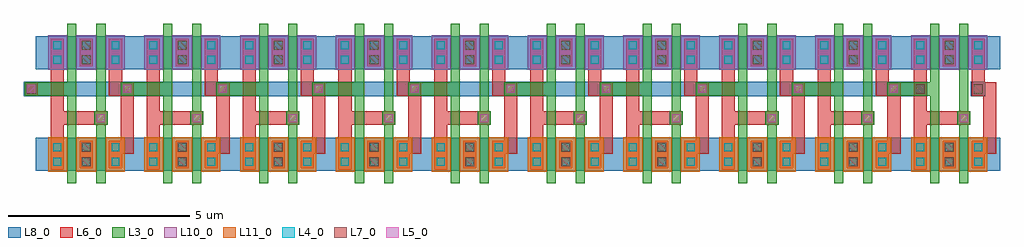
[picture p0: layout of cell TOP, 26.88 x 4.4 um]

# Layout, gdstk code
import gdstk
lib = gdstk.Library(unit=1e-6, precision=1e-09)
def R(c, l, rs):  # rectangles x0, y0, x1, y1
    for r in rs: c.add(gdstk.rectangle(r[:2], r[2:], *l))
def A(c, l, x, y, w, h, nx, ny, dx, dy):  # array of equal rectangles
    R(c, l, [(x+i*dx, y+j*dy, x+i*dx+w, y+j*dy+h) for i in range(nx) for j in range(ny)])
def P(c, l, *ps):  # polygons
    for p in ps: c.add(gdstk.Polygon(p, *l))
L3_0 = (3, 0)
L4_0 = (4, 0)
L5_0 = (5, 0)
L6_0 = (6, 0)
L7_0 = (7, 0)
L8_0 = (8, 0)
L10_0 = (10, 0)
L11_0 = (11, 0)

trans = lib.new_cell('TRANS')

d_pmos = lib.new_cell('D$PMOS')

d_pmos_1 = lib.new_cell('D$PMOS$1')

d_nmos = lib.new_cell('D$NMOS')

d_nmos_1 = lib.new_cell('D$NMOS$1')

inv2 = lib.new_cell('INV2')
inv2.add(gdstk.Reference(trans, (-0.4,0)))
inv2.add(gdstk.Reference(trans, (-0.4,2.8)))
inv2.add(gdstk.Reference(trans, (0.4,0), x_reflection=True))
inv2.add(gdstk.Reference(trans, (0.4,2.8), x_reflection=True))
inv2.add(gdstk.Reference(d_pmos, (-0.4,2.8)))
inv2.add(gdstk.Reference(d_pmos_1, (0.4,2.8)))
inv2.add(gdstk.Reference(d_nmos, (-0.4,0)))
inv2.add(gdstk.Reference(d_nmos_1, (0.4,0)))

top = lib.new_cell('TOP')
A(top, L3_0, 0.22, 0.82, 0.36, 0.36, 10, 1, 2.64, 0)
A(top, L3_0, -1.7, 1.62, 1.3, 0.36, 10, 1, 2.64, 0)
R(top, L3_0, [(-0.525,-0.8,-0.275,0.8), (0.275,-0.8,0.525,0.8), (2.115,-0.8,2.365,0.8), (2.915,-0.8,3.165,0.8), (4.755,-0.8,5.005,0.8), (5.555,-0.8,5.805,0.8), (7.395,-0.8,7.645,0.8), (8.195,-0.8,8.445,0.8), (10.035,-0.8,10.285,0.8), (10.835,-0.8,11.085,0.8), (12.675,-0.8,12.925,0.8), (13.475,-0.8,13.725,0.8), (15.315,-0.8,15.565,0.8), (16.115,-0.8,16.365,0.8), (17.955,-0.8,18.205,0.8), (18.755,-0.8,19.005,0.8), (20.595,-0.8,20.845,0.8), (21.395,-0.8,21.645,0.8), (23.235,-0.8,23.485,0.8), (24.035,-0.8,24.285,0.8), (-0.525,-0.475,-0.275,0.475), (0.275,-0.475,0.525,0.475), (2.115,-0.475,2.365,0.475), (2.915,-0.475,3.165,0.475), (4.755,-0.475,5.005,0.475), (5.555,-0.475,5.805,0.475), (7.395,-0.475,7.645,0.475), (8.195,-0.475,8.445,0.475), (10.035,-0.475,10.285,0.475), (10.835,-0.475,11.085,0.475), (12.675,-0.475,12.925,0.475), (13.475,-0.475,13.725,0.475), (15.315,-0.475,15.565,0.475), (16.115,-0.475,16.365,0.475), (17.955,-0.475,18.205,0.475), (18.755,-0.475,19.005,0.475), (20.595,-0.475,20.845,0.475), (21.395,-0.475,21.645,0.475), (23.235,-0.475,23.485,0.475), (24.035,-0.475,24.285,0.475), (-0.525,-0.25,-0.275,2.25), (0.275,-0.25,0.525,2.25), (2.115,-0.25,2.365,2.25), (2.915,-0.25,3.165,2.25), (4.755,-0.25,5.005,2.25), (5.555,-0.25,5.805,2.25), (7.395,-0.25,7.645,2.25), (8.195,-0.25,8.445,2.25), (10.035,-0.25,10.285,2.25), (10.835,-0.25,11.085,2.25), (12.675,-0.25,12.925,2.25), (13.475,-0.25,13.725,2.25), (15.315,-0.25,15.565,2.25), (16.115,-0.25,16.365,2.25), (17.955,-0.25,18.205,2.25), (18.755,-0.25,19.005,2.25), (20.595,-0.25,20.845,2.25), (21.395,-0.25,21.645,2.25), (23.235,-0.25,23.485,2.25), (24.035,-0.25,24.285,2.25), (-0.525,2,-0.275,3.6), (0.275,2,0.525,3.6), (2.115,2,2.365,3.6), (2.915,2,3.165,3.6), (4.755,2,5.005,3.6), (5.555,2,5.805,3.6), (7.395,2,7.645,3.6), (8.195,2,8.445,3.6), (10.035,2,10.285,3.6), (10.835,2,11.085,3.6), (12.675,2,12.925,3.6), (13.475,2,13.725,3.6), (15.315,2,15.565,3.6), (16.115,2,16.365,3.6), (17.955,2,18.205,3.6), (18.755,2,19.005,3.6), (20.595,2,20.845,3.6), (21.395,2,21.645,3.6), (23.235,2,23.485,3.6), (24.035,2,24.285,3.6), (-0.525,2.325,-0.275,3.275), (0.275,2.325,0.525,3.275), (2.115,2.325,2.365,3.275), (2.915,2.325,3.165,3.275), (4.755,2.325,5.005,3.275), (5.555,2.325,5.805,3.275), (7.395,2.325,7.645,3.275), (8.195,2.325,8.445,3.275), (10.035,2.325,10.285,3.275), (10.835,2.325,11.085,3.275), (12.675,2.325,12.925,3.275), (13.475,2.325,13.725,3.275), (15.315,2.325,15.565,3.275), (16.115,2.325,16.365,3.275), (17.955,2.325,18.205,3.275), (18.755,2.325,19.005,3.275), (20.595,2.325,20.845,3.275), (21.395,2.325,21.645,3.275), (23.235,2.325,23.485,3.275), (24.035,2.325,24.285,3.275)])
R(top, L4_0, [(-0.91,-0.31,-0.69,-0.09), (-0.11,-0.31,0.11,-0.09), (-0.11,-0.31,0.11,-0.09), (0.69,-0.31,0.91,-0.09), (1.73,-0.31,1.95,-0.09), (2.53,-0.31,2.75,-0.09), (2.53,-0.31,2.75,-0.09), (3.33,-0.31,3.55,-0.09), (4.37,-0.31,4.59,-0.09), (5.17,-0.31,5.39,-0.09), (5.17,-0.31,5.39,-0.09), (5.97,-0.31,6.19,-0.09), (7.01,-0.31,7.23,-0.09), (7.81,-0.31,8.03,-0.09), (7.81,-0.31,8.03,-0.09), (8.61,-0.31,8.83,-0.09), (9.65,-0.31,9.87,-0.09), (10.45,-0.31,10.67,-0.09), (10.45,-0.31,10.67,-0.09), (11.25,-0.31,11.47,-0.09), (12.29,-0.31,12.51,-0.09), (13.09,-0.31,13.31,-0.09), (13.09,-0.31,13.31,-0.09), (13.89,-0.31,14.11,-0.09), (14.93,-0.31,15.15,-0.09), (15.73,-0.31,15.95,-0.09), (15.73,-0.31,15.95,-0.09), (16.53,-0.31,16.75,-0.09), (17.57,-0.31,17.79,-0.09), (18.37,-0.31,18.59,-0.09), (18.37,-0.31,18.59,-0.09), (19.17,-0.31,19.39,-0.09), (20.21,-0.31,20.43,-0.09), (21.01,-0.31,21.23,-0.09), (21.01,-0.31,21.23,-0.09), (21.81,-0.31,22.03,-0.09), (22.85,-0.31,23.07,-0.09), (23.65,-0.31,23.87,-0.09), (23.65,-0.31,23.87,-0.09), (24.45,-0.31,24.67,-0.09), (-0.91,0.09,-0.69,0.31), (-0.11,0.09,0.11,0.31), (-0.11,0.09,0.11,0.31), (0.69,0.09,0.91,0.31), (1.73,0.09,1.95,0.31), (2.53,0.09,2.75,0.31), (2.53,0.09,2.75,0.31), (3.33,0.09,3.55,0.31), (4.37,0.09,4.59,0.31), (5.17,0.09,5.39,0.31), (5.17,0.09,5.39,0.31), (5.97,0.09,6.19,0.31), (7.01,0.09,7.23,0.31), (7.81,0.09,8.03,0.31), (7.81,0.09,8.03,0.31), (8.61,0.09,8.83,0.31), (9.65,0.09,9.87,0.31), (10.45,0.09,10.67,0.31), (10.45,0.09,10.67,0.31), (11.25,0.09,11.47,0.31), (12.29,0.09,12.51,0.31), (13.09,0.09,13.31,0.31), (13.09,0.09,13.31,0.31), (13.89,0.09,14.11,0.31), (14.93,0.09,15.15,0.31), (15.73,0.09,15.95,0.31), (15.73,0.09,15.95,0.31), (16.53,0.09,16.75,0.31), (17.57,0.09,17.79,0.31), (18.37,0.09,18.59,0.31), (18.37,0.09,18.59,0.31), (19.17,0.09,19.39,0.31), (20.21,0.09,20.43,0.31), (21.01,0.09,21.23,0.31), (21.01,0.09,21.23,0.31), (21.81,0.09,22.03,0.31), (22.85,0.09,23.07,0.31), (23.65,0.09,23.87,0.31), (23.65,0.09,23.87,0.31), (24.45,0.09,24.67,0.31), (-0.91,2.49,-0.69,2.71), (-0.11,2.49,0.11,2.71), (-0.11,2.49,0.11,2.71), (0.69,2.49,0.91,2.71), (1.73,2.49,1.95,2.71), (2.53,2.49,2.75,2.71), (2.53,2.49,2.75,2.71), (3.33,2.49,3.55,2.71), (4.37,2.49,4.59,2.71), (5.17,2.49,5.39,2.71), (5.17,2.49,5.39,2.71), (5.97,2.49,6.19,2.71), (7.01,2.49,7.23,2.71), (7.81,2.49,8.03,2.71), (7.81,2.49,8.03,2.71), (8.61,2.49,8.83,2.71), (9.65,2.49,9.87,2.71), (10.45,2.49,10.67,2.71), (10.45,2.49,10.67,2.71), (11.25,2.49,11.47,2.71), (12.29,2.49,12.51,2.71), (13.09,2.49,13.31,2.71), (13.09,2.49,13.31,2.71), (13.89,2.49,14.11,2.71), (14.93,2.49,15.15,2.71), (15.73,2.49,15.95,2.71), (15.73,2.49,15.95,2.71), (16.53,2.49,16.75,2.71), (17.57,2.49,17.79,2.71), (18.37,2.49,18.59,2.71), (18.37,2.49,18.59,2.71), (19.17,2.49,19.39,2.71), (20.21,2.49,20.43,2.71), (21.01,2.49,21.23,2.71), (21.01,2.49,21.23,2.71), (21.81,2.49,22.03,2.71), (22.85,2.49,23.07,2.71), (23.65,2.49,23.87,2.71), (23.65,2.49,23.87,2.71), (24.45,2.49,24.67,2.71), (-0.91,2.89,-0.69,3.11), (-0.11,2.89,0.11,3.11), (-0.11,2.89,0.11,3.11), (0.69,2.89,0.91,3.11), (1.73,2.89,1.95,3.11), (2.53,2.89,2.75,3.11), (2.53,2.89,2.75,3.11), (3.33,2.89,3.55,3.11), (4.37,2.89,4.59,3.11), (5.17,2.89,5.39,3.11), (5.17,2.89,5.39,3.11), (5.97,2.89,6.19,3.11), (7.01,2.89,7.23,3.11), (7.81,2.89,8.03,3.11), (7.81,2.89,8.03,3.11), (8.61,2.89,8.83,3.11), (9.65,2.89,9.87,3.11), (10.45,2.89,10.67,3.11), (10.45,2.89,10.67,3.11), (11.25,2.89,11.47,3.11), (12.29,2.89,12.51,3.11), (13.09,2.89,13.31,3.11), (13.09,2.89,13.31,3.11), (13.89,2.89,14.11,3.11), (14.93,2.89,15.15,3.11), (15.73,2.89,15.95,3.11), (15.73,2.89,15.95,3.11), (16.53,2.89,16.75,3.11), (17.57,2.89,17.79,3.11), (18.37,2.89,18.59,3.11), (18.37,2.89,18.59,3.11), (19.17,2.89,19.39,3.11), (20.21,2.89,20.43,3.11), (21.01,2.89,21.23,3.11), (21.01,2.89,21.23,3.11), (21.81,2.89,22.03,3.11), (22.85,2.89,23.07,3.11), (23.65,2.89,23.87,3.11), (23.65,2.89,23.87,3.11), (24.45,2.89,24.67,3.11)])
A(top, L5_0, 0.29, 0.89, 0.22, 0.22, 10, 1, 2.64, 0)
A(top, L5_0, -1.63, 1.69, 0.22, 0.22, 10, 1, 2.64, 0)
A(top, L6_0, -0.98, -0.42, 0.36, 2.84, 10, 1, 2.64, 0)
A(top, L6_0, -0.8, 0.82, 1.38, 0.36, 10, 1, 2.64, 0)
R(top, L6_0, [(-0.98,-0.38,-0.62,0.38), (-0.18,-0.38,0.18,0.38), (-0.18,-0.38,0.18,0.38), (0.62,-0.38,0.98,0.38), (1.66,-0.38,2.02,0.38), (2.46,-0.38,2.82,0.38), (2.46,-0.38,2.82,0.38), (3.26,-0.38,3.62,0.38), (4.3,-0.38,4.66,0.38), (5.1,-0.38,5.46,0.38), (5.1,-0.38,5.46,0.38), (5.9,-0.38,6.26,0.38), (6.94,-0.38,7.3,0.38), (7.74,-0.38,8.1,0.38), (7.74,-0.38,8.1,0.38), (8.54,-0.38,8.9,0.38), (9.58,-0.38,9.94,0.38), (10.38,-0.38,10.74,0.38), (10.38,-0.38,10.74,0.38), (11.18,-0.38,11.54,0.38), (12.22,-0.38,12.58,0.38), (13.02,-0.38,13.38,0.38), (13.02,-0.38,13.38,0.38), (13.82,-0.38,14.18,0.38), (14.86,-0.38,15.22,0.38), (15.66,-0.38,16.02,0.38), (15.66,-0.38,16.02,0.38), (16.46,-0.38,16.82,0.38), (17.5,-0.38,17.86,0.38), (18.3,-0.38,18.66,0.38), (18.3,-0.38,18.66,0.38), (19.1,-0.38,19.46,0.38), (20.14,-0.38,20.5,0.38), (20.94,-0.38,21.3,0.38), (20.94,-0.38,21.3,0.38), (21.74,-0.38,22.1,0.38), (22.78,-0.38,23.14,0.38), (23.58,-0.38,23.94,0.38), (23.58,-0.38,23.94,0.38), (24.38,-0.38,24.74,0.38), (-1.7,1.62,-1.34,1.98), (-0.98,2.42,-0.62,3.18), (-0.18,2.42,0.18,3.18), (-0.18,2.42,0.18,3.18), (0.62,2.42,0.98,3.18), (1.66,2.42,2.02,3.18), (2.46,2.42,2.82,3.18), (2.46,2.42,2.82,3.18), (3.26,2.42,3.62,3.18), (4.3,2.42,4.66,3.18), (5.1,2.42,5.46,3.18), (5.1,2.42,5.46,3.18), (5.9,2.42,6.26,3.18), (6.94,2.42,7.3,3.18), (7.74,2.42,8.1,3.18), (7.74,2.42,8.1,3.18), (8.54,2.42,8.9,3.18), (9.58,2.42,9.94,3.18), (10.38,2.42,10.74,3.18), (10.38,2.42,10.74,3.18), (11.18,2.42,11.54,3.18), (12.22,2.42,12.58,3.18), (13.02,2.42,13.38,3.18), (13.02,2.42,13.38,3.18), (13.82,2.42,14.18,3.18), (14.86,2.42,15.22,3.18), (15.66,2.42,16.02,3.18), (15.66,2.42,16.02,3.18), (16.46,2.42,16.82,3.18), (17.5,2.42,17.86,3.18), (18.3,2.42,18.66,3.18), (18.3,2.42,18.66,3.18), (19.1,2.42,19.46,3.18), (20.14,2.42,20.5,3.18), (20.94,2.42,21.3,3.18), (20.94,2.42,21.3,3.18), (21.74,2.42,22.1,3.18), (22.78,2.42,23.14,3.18), (23.58,2.42,23.94,3.18), (23.58,2.42,23.94,3.18), (24.38,2.42,24.74,3.18)])
P(top, L6_0, [(11.36,0.02),(11.36,0.38),(11.5,0.38),(11.5,1.62),(11.18,1.62),(11.18,2.42),(11.54,2.42),(11.54,1.98),(11.86,1.98),(11.86,0.02)],
  [(24.56,0.02),(24.56,0.38),(24.7,0.38),(24.7,1.62),(24.38,1.62),(24.38,2.42),(24.74,2.42),(24.74,1.98),(25.06,1.98),(25.06,0.02)],
  [(21.92,0.02),(21.92,0.38),(22.06,0.38),(22.06,1.62),(21.74,1.62),(21.74,2.42),(22.1,2.42),(22.1,1.98),(22.42,1.98),(22.42,0.02)],
  [(19.28,0.02),(19.28,0.38),(19.42,0.38),(19.42,1.62),(19.1,1.62),(19.1,2.42),(19.46,2.42),(19.46,1.98),(19.78,1.98),(19.78,0.02)],
  [(16.64,0.02),(16.64,0.38),(16.78,0.38),(16.78,1.62),(16.46,1.62),(16.46,2.42),(16.82,2.42),(16.82,1.98),(17.14,1.98),(17.14,0.02)],
  [(14,0.02),(14,0.38),(14.14,0.38),(14.14,1.62),(13.82,1.62),(13.82,2.42),(14.18,2.42),(14.18,1.98),(14.5,1.98),(14.5,0.02)],
  [(0.8,0.02),(0.8,0.38),(0.94,0.38),(0.94,1.62),(0.62,1.62),(0.62,2.42),(0.98,2.42),(0.98,1.98),(1.3,1.98),(1.3,0.02)],
  [(8.72,0.02),(8.72,0.38),(8.86,0.38),(8.86,1.62),(8.54,1.62),(8.54,2.42),(8.9,2.42),(8.9,1.98),(9.22,1.98),(9.22,0.02)],
  [(6.08,0.02),(6.08,0.38),(6.22,0.38),(6.22,1.62),(5.9,1.62),(5.9,2.42),(6.26,2.42),(6.26,1.98),(6.58,1.98),(6.58,0.02)],
  [(3.44,0.02),(3.44,0.38),(3.58,0.38),(3.58,1.62),(3.26,1.62),(3.26,2.42),(3.62,2.42),(3.62,1.98),(3.94,1.98),(3.94,0.02)])
A(top, L7_0, -0.125, -0.325, 0.25, 0.25, 10, 2, 2.64, 0.4)
A(top, L7_0, -0.125, 2.475, 0.25, 0.25, 10, 2, 2.64, 0.4)
R(top, L7_0, [(-1.645,1.675,-1.395,1.925), (22.835,1.675,23.085,1.925), (24.435,1.675,24.685,1.925)])
A(top, L8_0, -1.4, -0.45, 2.8, 0.9, 10, 2, 2.64, 2.8)
R(top, L8_0, [(-1.72,1.6,23.16,2), (24.36,1.6,24.76,2)])
R(top, L10_0, [(-1.05,2.325,-0.525,3.275), (-1.05,2.325,-0.525,3.275), (-0.275,2.325,0.275,3.275), (-0.275,2.325,0.275,3.275), (-0.275,2.325,0.275,3.275), (0.525,2.325,1.05,3.275), (0.525,2.325,1.05,3.275), (1.59,2.325,2.115,3.275), (1.59,2.325,2.115,3.275), (2.365,2.325,2.915,3.275), (2.365,2.325,2.915,3.275), (2.365,2.325,2.915,3.275), (3.165,2.325,3.69,3.275), (3.165,2.325,3.69,3.275), (4.23,2.325,4.755,3.275), (4.23,2.325,4.755,3.275), (5.005,2.325,5.555,3.275), (5.005,2.325,5.555,3.275), (5.005,2.325,5.555,3.275), (5.805,2.325,6.33,3.275), (5.805,2.325,6.33,3.275), (6.87,2.325,7.395,3.275), (6.87,2.325,7.395,3.275), (7.645,2.325,8.195,3.275), (7.645,2.325,8.195,3.275), (7.645,2.325,8.195,3.275), (8.445,2.325,8.97,3.275), (8.445,2.325,8.97,3.275), (9.51,2.325,10.035,3.275), (9.51,2.325,10.035,3.275), (10.285,2.325,10.835,3.275), (10.285,2.325,10.835,3.275), (10.285,2.325,10.835,3.275), (11.085,2.325,11.61,3.275), (11.085,2.325,11.61,3.275), (12.15,2.325,12.675,3.275), (12.15,2.325,12.675,3.275), (12.925,2.325,13.475,3.275), (12.925,2.325,13.475,3.275), (12.925,2.325,13.475,3.275), (13.725,2.325,14.25,3.275), (13.725,2.325,14.25,3.275), (14.79,2.325,15.315,3.275), (14.79,2.325,15.315,3.275), (15.565,2.325,16.115,3.275), (15.565,2.325,16.115,3.275), (15.565,2.325,16.115,3.275), (16.365,2.325,16.89,3.275), (16.365,2.325,16.89,3.275), (17.43,2.325,17.955,3.275), (17.43,2.325,17.955,3.275), (18.205,2.325,18.755,3.275), (18.205,2.325,18.755,3.275), (18.205,2.325,18.755,3.275), (19.005,2.325,19.53,3.275), (19.005,2.325,19.53,3.275), (20.07,2.325,20.595,3.275), (20.07,2.325,20.595,3.275), (20.845,2.325,21.395,3.275), (20.845,2.325,21.395,3.275), (20.845,2.325,21.395,3.275), (21.645,2.325,22.17,3.275), (21.645,2.325,22.17,3.275), (22.71,2.325,23.235,3.275), (22.71,2.325,23.235,3.275), (23.485,2.325,24.035,3.275), (23.485,2.325,24.035,3.275), (23.485,2.325,24.035,3.275), (24.285,2.325,24.81,3.275), (24.285,2.325,24.81,3.275)])
R(top, L11_0, [(-1.05,-0.475,-0.525,0.475), (-1.05,-0.475,-0.525,0.475), (-0.275,-0.475,0.275,0.475), (-0.275,-0.475,0.275,0.475), (-0.275,-0.475,0.275,0.475), (0.525,-0.475,1.05,0.475), (0.525,-0.475,1.05,0.475), (1.59,-0.475,2.115,0.475), (1.59,-0.475,2.115,0.475), (2.365,-0.475,2.915,0.475), (2.365,-0.475,2.915,0.475), (2.365,-0.475,2.915,0.475), (3.165,-0.475,3.69,0.475), (3.165,-0.475,3.69,0.475), (4.23,-0.475,4.755,0.475), (4.23,-0.475,4.755,0.475), (5.005,-0.475,5.555,0.475), (5.005,-0.475,5.555,0.475), (5.005,-0.475,5.555,0.475), (5.805,-0.475,6.33,0.475), (5.805,-0.475,6.33,0.475), (6.87,-0.475,7.395,0.475), (6.87,-0.475,7.395,0.475), (7.645,-0.475,8.195,0.475), (7.645,-0.475,8.195,0.475), (7.645,-0.475,8.195,0.475), (8.445,-0.475,8.97,0.475), (8.445,-0.475,8.97,0.475), (9.51,-0.475,10.035,0.475), (9.51,-0.475,10.035,0.475), (10.285,-0.475,10.835,0.475), (10.285,-0.475,10.835,0.475), (10.285,-0.475,10.835,0.475), (11.085,-0.475,11.61,0.475), (11.085,-0.475,11.61,0.475), (12.15,-0.475,12.675,0.475), (12.15,-0.475,12.675,0.475), (12.925,-0.475,13.475,0.475), (12.925,-0.475,13.475,0.475), (12.925,-0.475,13.475,0.475), (13.725,-0.475,14.25,0.475), (13.725,-0.475,14.25,0.475), (14.79,-0.475,15.315,0.475), (14.79,-0.475,15.315,0.475), (15.565,-0.475,16.115,0.475), (15.565,-0.475,16.115,0.475), (15.565,-0.475,16.115,0.475), (16.365,-0.475,16.89,0.475), (16.365,-0.475,16.89,0.475), (17.43,-0.475,17.955,0.475), (17.43,-0.475,17.955,0.475), (18.205,-0.475,18.755,0.475), (18.205,-0.475,18.755,0.475), (18.205,-0.475,18.755,0.475), (19.005,-0.475,19.53,0.475), (19.005,-0.475,19.53,0.475), (20.07,-0.475,20.595,0.475), (20.07,-0.475,20.595,0.475), (20.845,-0.475,21.395,0.475), (20.845,-0.475,21.395,0.475), (20.845,-0.475,21.395,0.475), (21.645,-0.475,22.17,0.475), (21.645,-0.475,22.17,0.475), (22.71,-0.475,23.235,0.475), (22.71,-0.475,23.235,0.475), (23.485,-0.475,24.035,0.475), (23.485,-0.475,24.035,0.475), (23.485,-0.475,24.035,0.475), (24.285,-0.475,24.81,0.475), (24.285,-0.475,24.81,0.475)])
top.add(gdstk.Reference(inv2, (0,0)))
top.add(gdstk.Reference(inv2, (2.64,0)))
top.add(gdstk.Reference(inv2, (5.28,0)))
top.add(gdstk.Reference(inv2, (7.92,0)))
top.add(gdstk.Reference(inv2, (10.56,0)))
top.add(gdstk.Reference(inv2, (13.2,0)))
top.add(gdstk.Reference(inv2, (15.84,0)))
top.add(gdstk.Reference(inv2, (18.48,0)))
top.add(gdstk.Reference(inv2, (21.12,0)))
top.add(gdstk.Reference(inv2, (23.76,0)))

lib.write_gds('TOP.gds')
